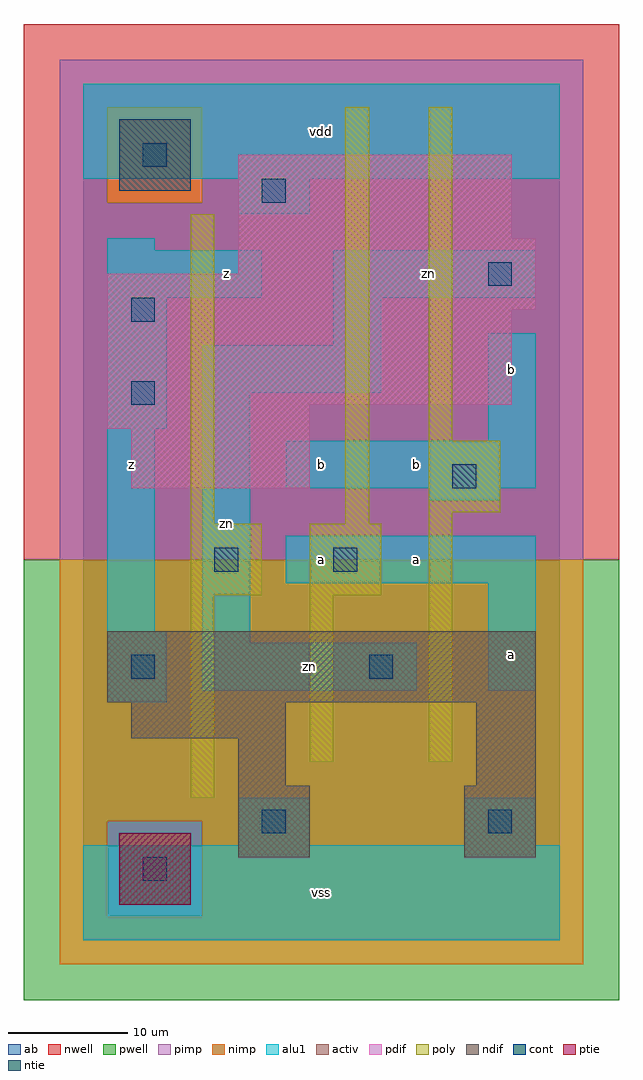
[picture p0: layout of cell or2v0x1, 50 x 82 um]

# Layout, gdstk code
import gdstk
lib = gdstk.Library(unit=1e-6, precision=1e-09)
def R(c, l, rs):  # rectangles x0, y0, x1, y1
    for r in rs: c.add(gdstk.rectangle(r[:2], r[2:], *l))
ndif = (3, 0)
pdif = (4, 0)
ntie = (5, 0)
ptie = (6, 0)
cont = (25, 0)
pwell = (41, 0)
nwell = (42, 0)
activ = (43, 0)
pimp = (44, 0)
nimp = (45, 0)
poly = (46, 0)
alu1 = (49, 0)
ab = (63, 0)

or2v0x1 = lib.new_cell('or2v0x1')
R(or2v0x1, ndif, [(13,7,19,13), (32,7,38,13), (13,13,17,17), (33,13,38,20), (4,17,17,20), (2,20,38,26)])
R(or2v0x1, pdif, [(4,38,19,43), (2,43,19,45), (2,45,36,53), (2,53,38,56), (13,56,38,59), (13,59,36,66)])
R(or2v0x1, ntie, [(3,63,9,69)])
R(or2v0x1, ptie, [(3,3,9,9)])
R(or2v0x1, cont, [(5,5,7,7), (15,9,17,11), (34,9,36,11), (4,22,6,24), (24,22,26,24), (11,31,13,33), (21,31,23,33), (31,38,33,40), (4,45,6,47), (4,52,6,54), (34,55,36,57), (15,62,17,64), (5,65,7,67)])
R(or2v0x1, pwell, [(-5,-5,45,32)])
R(or2v0x1, nwell, [(-5,32,45,77)])
R(or2v0x1, activ, [(3,3,9,9), (13,7,19,13), (32,7,38,13), (13,13,17,17), (33,13,38,20), (4,17,17,20), (2,20,38,26), (4,38,19,43), (2,43,19,45), (2,45,36,53), (2,53,38,56), (13,56,38,59), (13,59,36,66), (3,63,9,69)])
R(or2v0x1, pimp, [(2,2,10,10), (-2,32,42,62), (-2,62,2,70), (10,62,42,70), (-2,70,42,74)])
R(or2v0x1, nimp, [(-2,-2,42,2), (-2,2,2,10), (10,2,42,10), (-2,10,42,32), (2,62,10,70)])
R(or2v0x1, poly, [(9,12,11,29), (19,15,21,29), (29,15,31,36), (9,29,15,35), (19,29,25,35), (9,35,11,61), (22,35,24,70), (29,36,35,42), (29,42,31,70)])
R(or2v0x1, alu1, [(0,0,40,8), (13,8,19,12), (32,8,38,12), (2,20,7,26), (10,21,28,25), (34,21,38,30), (10,25,14,46), (2,26,6,43), (17,30,38,34), (29,37,35,38), (17,38,38,42), (34,42,38,51), (2,43,7,54), (10,46,25,50), (21,50,25,54), (2,54,15,58), (21,54,38,58), (2,58,6,59), (13,61,19,64), (0,64,40,72)])
R(or2v0x1, ab, [(0,0,40,72)])
or2v0x1.add(gdstk.Label('zn', (12,35), layer=49, texttype=0))
or2v0x1.add(gdstk.Label('zn', (19,23), layer=49, texttype=0))
or2v0x1.add(gdstk.Label('zn', (29,56), layer=49, texttype=0))
or2v0x1.add(gdstk.Label('z', (4,40), layer=49, texttype=0))
or2v0x1.add(gdstk.Label('z', (12,56), layer=49, texttype=0))
or2v0x1.add(gdstk.Label('vss', (20,4), layer=49, texttype=0))
or2v0x1.add(gdstk.Label('a', (20,32), layer=49, texttype=0))
or2v0x1.add(gdstk.Label('a', (28,32), layer=49, texttype=0))
or2v0x1.add(gdstk.Label('b', (28,40), layer=49, texttype=0))
or2v0x1.add(gdstk.Label('b', (20,40), layer=49, texttype=0))
or2v0x1.add(gdstk.Label('vdd', (20,68), layer=49, texttype=0))
or2v0x1.add(gdstk.Label('a', (36,24), layer=49, texttype=0))
or2v0x1.add(gdstk.Label('b', (36,48), layer=49, texttype=0))

lib.write_gds('or2v0x1.gds')
